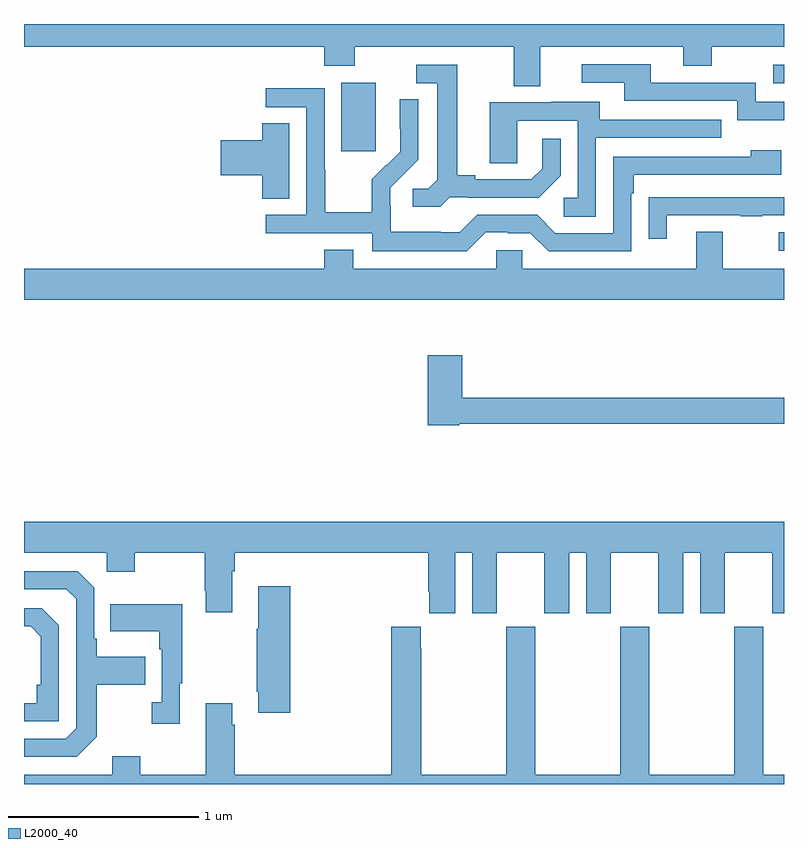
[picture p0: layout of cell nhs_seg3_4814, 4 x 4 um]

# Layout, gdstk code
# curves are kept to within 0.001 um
import gdstk
lib = gdstk.Library(unit=1e-6, precision=1e-09)
def R(c, l, rs):  # rectangles x0, y0, x1, y1
    for r in rs: c.add(gdstk.rectangle(r[:2], r[2:], *l))
def P(c, l, *ps):  # polygons
    for p in ps: c.add(gdstk.Polygon(p, *l))
L2000_40 = (2000, 40)

nhs_seg3_4814 = lib.new_cell('nhs_seg3_4814')
R(nhs_seg3_4814, L2000_40, [(374.973,669.207,375,669.303), (372.671,669.729,372.85,670.09), (374.943,670.089,375,670.185)])
P(nhs_seg3_4814, L2000_40, [(373.717,670.28),(374.471,670.28),(374.471,670.181),(374.619,670.181),(374.619,670.28),(375,670.28),(375,670.4),(371,670.4),(371,670.28),(372.581,670.28),(372.581,670.181),(372.741,670.181),(372.741,670.28),(373.577,670.28),(373.577,670.072),(373.717,670.072)],
  [(375,669.99),(374.85,669.99),(374.85,670.092),(374.299,670.092),(374.299,670.188),(373.935,670.188),(373.935,670.092),(374.159,670.092),(374.159,669.996),(374.754,669.996),(374.754,669.893),(375,669.893)],
  [(373.242,669.489),(373.336,669.489),(373.336,669.486),(373.708,669.486),(373.824,669.602),(373.824,669.796),(373.727,669.796),(373.727,669.639),(373.67,669.582),(373.375,669.582),(373.375,669.605),(373.279,669.605),(373.279,670.185),(373.065,670.185),(373.065,670.089),(373.175,670.089),(373.175,669.581),(373.128,669.534),(373.047,669.534),(373.047,669.437),(373.19,669.437)],
  [(373.431,669.303),(373.547,669.303),(373.547,669.3),(373.665,669.3),(373.761,669.204),(374.196,669.204),(374.196,669.509),(374.209,669.509),(374.209,669.606),(374.986,669.606),(374.986,669.736),(374.825,669.736),(374.825,669.702),(374.1,669.702),(374.1,669.3),(373.797,669.3),(373.701,669.396),(373.386,669.396),(373.293,669.303),(373.193,669.303),(373.193,669.307),(372.93,669.307),(372.93,669.441),(372.928,669.441),(372.928,669.538),(373.074,669.686),(373.074,670.004),(372.978,670.004),(372.978,669.85),(372.98,669.85),(372.98,669.728),(372.909,669.657),(372.906,669.66),(372.829,669.583),(372.829,669.409),(372.585,669.409),(372.585,669.632),(372.582,669.632),(372.582,670.062),(372.273,670.062),(372.273,669.963),(372.486,669.963),(372.486,669.396),(372.273,669.396),(372.273,669.3),(372.834,669.3),(372.834,669.203),(373.331,669.203)],
  [(374.01,669.801),(374.669,669.801),(374.669,669.897),(374.029,669.897),(374.029,669.991),(373.775,669.991),(373.775,669.987),(373.451,669.987),(373.451,669.667),(373.596,669.667),(373.596,669.891),(373.914,669.891),(373.914,669.486),(373.842,669.486),(373.842,669.385),(374.01,669.385)],
  [(372.397,669.878),(372.254,669.878),(372.254,669.788),(372.036,669.788),(372.036,669.605),(372.254,669.605),(372.254,669.481),(372.397,669.481)],
  [(374.383,669.393),(374.773,669.393),(374.773,669.388),(374.885,669.388),(374.885,669.393),(375,669.393),(375,669.489),(374.389,669.489),(374.389,669.488),(374.287,669.488),(374.287,669.27),(374.383,669.27)],
  [(375,669.112),(374.677,669.112),(374.677,669.307),(374.537,669.307),(374.537,669.112),(373.623,669.112),(373.623,669.21),(373.485,669.21),(373.485,669.112),(372.733,669.112),(372.733,669.211),(372.581,669.211),(372.581,669.112),(371,669.112),(371,668.948),(375,668.948)],
  [(373.29,668.296),(375,668.296),(375,668.432),(373.307,668.432),(373.307,668.656),(373.124,668.656),(373.124,668.288),(373.29,668.288)],
  [(373.27,667.616),(373.358,667.616),(373.358,667.299),(373.489,667.299),(373.489,667.616),(373.739,667.616),(373.739,667.299),(373.87,667.299),(373.87,667.616),(373.958,667.616),(373.958,667.299),(374.089,667.299),(374.089,667.616),(374.339,667.616),(374.339,667.299),(374.47,667.299),(374.47,667.616),(374.558,667.616),(374.558,667.299),(374.689,667.299),(374.689,667.616),(374.939,667.616),(374.939,667.299),(375,667.299),(375,667.78),(371,667.78),(371,667.616),(371.436,667.616),(371.436,667.517),(371.583,667.517),(371.583,667.616),(371.95,667.616),(371.95,667.417),(371.957,667.417),(371.957,667.305),(372.097,667.305),(372.097,667.52),(372.11,667.52),(372.11,667.616),(373.127,667.616),(373.127,667.411),(373.133,667.411),(373.133,667.299),(373.27,667.299)],
  [(371.383,666.649),(371.383,666.922),(371.639,666.922),(371.639,667.069),(371.383,667.069),(371.383,667.165),(371.37,667.165),(371.37,667.434),(371.283,667.521),(371,667.521),(371,667.425),(371.223,667.425),(371.274,667.374),(371.274,666.693),(371.22,666.639),(371,666.639),(371,666.543),(371.277,666.543)],
  [(372.401,667.441),(372.233,667.441),(372.233,667.217),(372.226,667.217),(372.226,666.886),(372.233,666.886),(372.233,666.774),(372.401,666.774)],
  [(371.821,666.929),(371.833,666.929),(371.833,667.345),(371.455,667.345),(371.455,667.205),(371.712,667.205),(371.712,667.109),(371.724,667.109),(371.724,666.83),(371.673,666.83),(371.673,666.717),(371.821,666.717)],
  [(371.184,667.236),(371.094,667.326),(371,667.326),(371,667.229),(371.035,667.229),(371.088,667.176),(371.088,666.922),(371.068,666.922),(371.068,666.825),(371,666.825),(371,666.729),(371.184,666.729)],
  [(372.932,667.228),(372.932,666.448),(372.11,666.448),(372.11,666.713),(372.097,666.713),(372.097,666.826),(371.957,666.826),(371.957,666.448),(371.613,666.448),(371.613,666.547),(371.465,666.547),(371.465,666.448),(371,666.448),(371,666.4),(375,666.4),(375,666.448),(374.892,666.448),(374.892,667.228),(374.737,667.228),(374.737,666.448),(374.292,666.448),(374.292,667.228),(374.137,667.228),(374.137,666.448),(373.692,666.448),(373.692,667.228),(373.537,667.228),(373.537,666.448),(373.092,666.448),(373.092,667.115),(373.087,667.115),(373.087,667.228)])

lib.write_gds('nhs_seg3_4814.gds')
